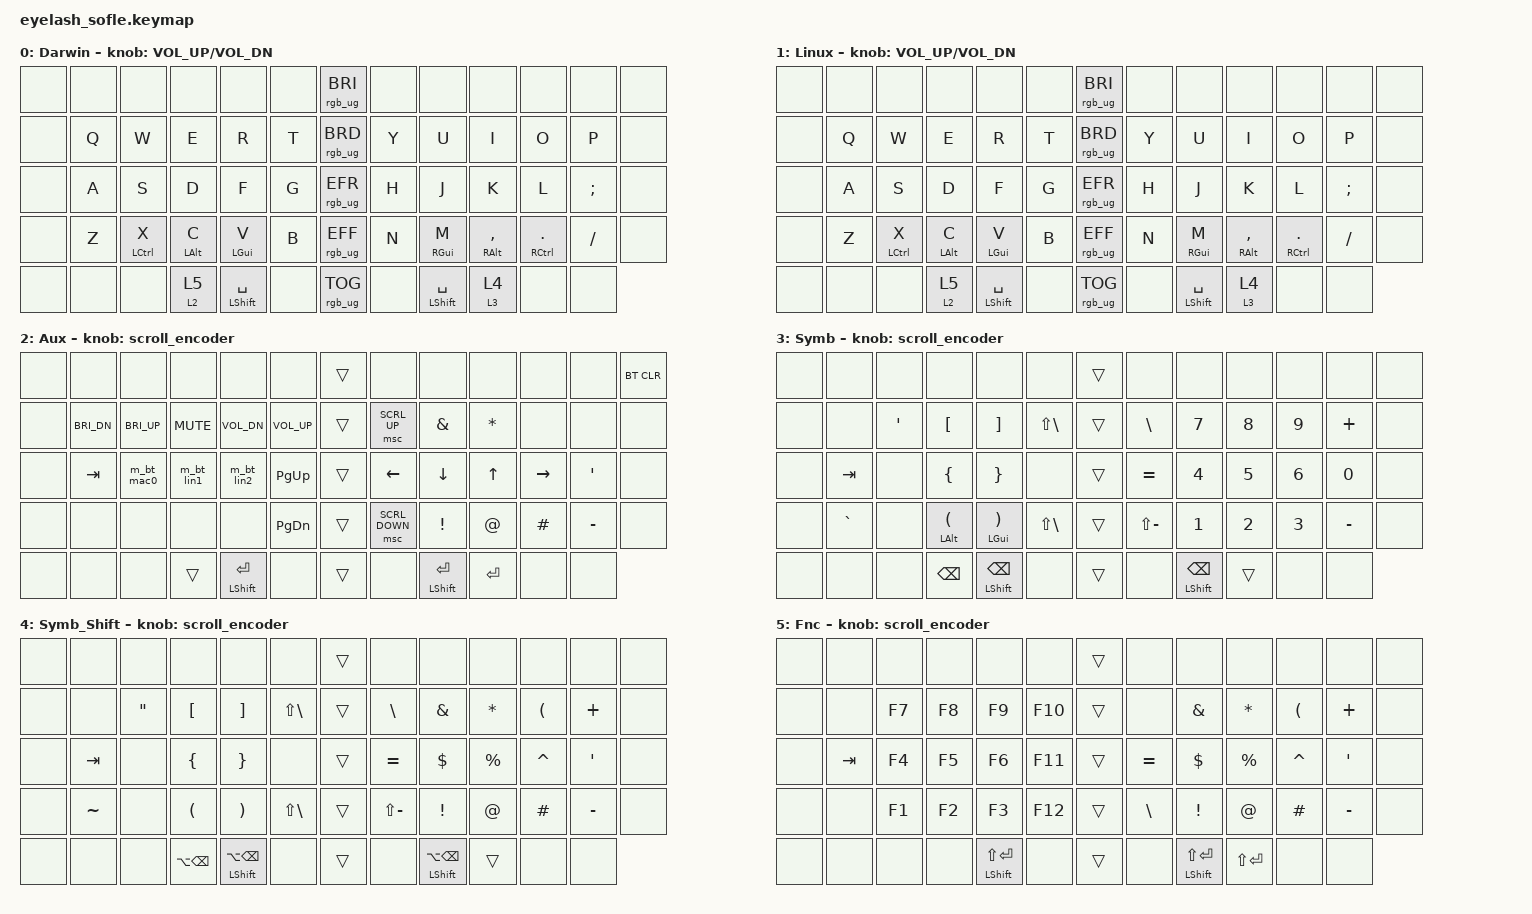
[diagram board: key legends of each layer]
#define ZMK_POINTING_DEFAULT_MOVE_VAL 1200  // 600
#define ZMK_POINTING_DEFAULT_SCRL_VAL 25   // 10

#include <input/processors.dtsi>
#include <zephyr/dt-bindings/input/input-event-codes.h>
#include <behaviors.dtsi>
#include <dt-bindings/zmk/bt.h>
#include <dt-bindings/zmk/keys.h>
#include <dt-bindings/zmk/outputs.h>
#include <dt-bindings/zmk/pointing.h>
#include <dt-bindings/zmk/rgb.h>

&mmv_input_listener { input-processors = <&zip_xy_scaler 2 1>; };

&msc_input_listener { input-processors = <&zip_scroll_scaler 2 1>; };

&msc {
    acceleration-exponent = <1>;      // 0
    time-to-max-speed-ms = <100>;       // 300
    delay-ms = <0>;                   // 0
};

&mmv {
    time-to-max-speed-ms = <500>;
    acceleration-exponent = <1>;
    trigger-period-ms = <16>;
};

&soft_off { hold-time-ms = <2000>; };

/ {
    scroll_encoder: scroll_encoder {
        compatible = "zmk,behavior-sensor-rotate";
        #sensor-binding-cells = <0>;
        bindings = <&msc SCRL_DOWN>, <&msc SCRL_UP>;

        tap-ms = <100>;
    };

    macros {
        m_bt_mac0: m_bt_mac0 {
            compatible = "zmk,behavior-macro";
            #binding-cells = <0>;
            bindings = <&bt BT_SEL 0>, <&to 0>;
        };
        m_bt_lin1: m_bt_lin1 {
            compatible = "zmk,behavior-macro";
            #binding-cells = <0>;
            bindings = <&bt BT_SEL 1>, <&to 1>;
        };
        m_bt_lin2: m_bt_lin2 {
            compatible = "zmk,behavior-macro";
            #binding-cells = <0>;
            bindings = <&bt BT_SEL 2>, <&to 1>;
        };
    };

    behaviors {
        hml: homerow_mods_left {
            compatible = "zmk,behavior-hold-tap";
            #binding-cells = <2>;
            flavor = "balanced";
            tapping-term-ms = <200>;
            quick-tap-ms = <200>;
            bindings = <&kp>, <&kp>;
        };

        hmr: homerow_mods_right {
            compatible = "zmk,behavior-hold-tap";
            #binding-cells = <2>;
            flavor = "balanced";
            tapping-term-ms = <200>;
            quick-tap-ms = <200>;
            bindings = <&kp>, <&kp>;
        };

        lmt: lmet_behavior {
            compatible = "zmk,behavior-hold-tap";
            #binding-cells = <2>;
            flavor = "tap-preferred";
            tapping-term-ms = <200>;
            bindings = <&mo>, <&sl>;
        };

        rmt: rmet_behavior {
            compatible = "zmk,behavior-hold-tap";
            #binding-cells = <2>;
            flavor = "tap-preferred";
            tapping-term-ms = <200>;
            bindings = <&mo>, <&sl>;
        };

        shft_spc: shift_space {
            compatible = "zmk,behavior-hold-tap";
            #binding-cells = <2>;
            flavor = "balanced";
            tapping-term-ms = <150>;
            quick-tap-ms = <0>;
            bindings = <&kp>, <&kp>;
        };
    };

    combos {
        compatible = "zmk,combos";

        softoff {
            bindings = <&soft_off>;
            key-positions = <14 28 40>;
        };

        combo_esc {
            timeout-ms = <30>;
            key-positions = <15 16>;
            bindings = <&kp ESC>;
        };

        combo_ret {
            timeout-ms = <30>;
            key-positions = <34 35>;
            bindings = <&kp ENTER>;
        };

        combo_abspc_mac {
            timeout-ms = <200>;
            key-positions = <36 37>;
            bindings = <&kp LA(BSPC)>;
            layers = <0>;
        };
        combo_abspc_win {
            timeout-ms = <200>;
            key-positions = <36 37>;
            bindings = <&kp LC(BSPC)>;
            layers = <1>;
        };
    };

    keymap {
        compatible = "zmk,keymap";

        layer0 {
            bindings = <
&none      &none     &none        &none        &none                  &none             &rgb_ug RGB_BRI        &none     &none                 &none           &none          &none     &none
&none      &kp Q     &kp W        &kp E        &kp R                  &kp T             &rgb_ug RGB_BRD        &kp Y     &kp U                 &kp I           &kp O          &kp P     &none
&none      &kp A     &kp S        &kp D        &kp F                  &kp G             &rgb_ug RGB_EFR        &kp H     &kp J                 &kp K           &kp L          &kp SEMI  &none
&none      &kp Z     &hml LCTL X  &hml LALT C  &hml LGUI V            &kp B             &rgb_ug RGB_EFF        &kp N     &hmr RGUI M           &hmr RALT COMMA &hmr RCTRL DOT &kp FSLH  &none
&none      &none     &none        &lmt 2 5     &shft_spc LSHFT SPACE  &none             &rgb_ug RGB_TOG        &none     &shft_spc LSHFT SPACE &rmt 3 4        &none          &none
            >;

            sensor-bindings = <&inc_dec_kp C_VOLUME_UP C_VOL_DN>;
            display-name = "Darwin";
        };

        layer_1 {
            bindings = <
&none      &none     &none        &none        &none                  &none             &rgb_ug RGB_BRI        &none     &none                 &none           &none          &none     &none
&none      &kp Q     &kp W        &kp E        &kp R                  &kp T             &rgb_ug RGB_BRD        &kp Y     &kp U                 &kp I           &kp O          &kp P     &none
&none      &kp A     &kp S        &kp D        &kp F                  &kp G             &rgb_ug RGB_EFR        &kp H     &kp J                 &kp K           &kp L          &kp SEMI  &none
&none      &kp Z     &hml LCTL X  &hml LALT C  &hml LGUI V            &kp B             &rgb_ug RGB_EFF        &kp N     &hmr RGUI M           &hmr RALT COMMA &hmr RCTRL DOT &kp FSLH  &none
&none      &none     &none        &lmt 2 5     &shft_spc LSHFT SPACE  &none             &rgb_ug RGB_TOG        &none     &shft_spc LSHFT SPACE &rmt 3 4        &none          &none
            >;

            sensor-bindings = <&inc_dec_kp C_VOLUME_UP C_VOL_DN>;
            display-name = "Linux";
        };

        layer_2 {
            bindings = <
&none      &none         &none         &none         &none         &none                &trans          &none           &none                 &none      &none      &none     &bt BT_CLR
&none      &kp C_BRI_DN  &kp C_BRI_UP  &kp C_MUTE    &kp C_VOL_DN  &kp C_VOL_UP         &trans          &msc SCRL_UP    &kp AMPS              &kp ASTRK  &none      &none     &none
&none      &kp TAB       &m_bt_mac0    &m_bt_lin1    &m_bt_lin2    &kp PG_UP            &trans          &kp LEFT        &kp DOWN              &kp UP     &kp RIGHT  &kp SQT   &none
&none      &none         &none         &none         &none         &kp PG_DN            &trans          &msc SCRL_DOWN  &kp EXCL              &kp AT     &kp HASH   &kp MINUS &none
&none      &none         &none         &trans        &shft_spc LSHFT ENTER  &none       &trans          &none           &shft_spc LSHFT ENTER &kp ENTER  &none      &none
            >;

            display-name = "Aux";
            sensor-bindings = <&scroll_encoder>;
        };

        layer_3 {
            bindings = <
&none      &none      &none     &none           &none           &none                &trans          &none      &none                 &none      &none      &none      &none
&none      &none      &kp SQT   &kp LBKT        &kp RBKT        &kp LS(BSLH)         &trans          &kp BSLH   &kp N7                &kp N8     &kp N9     &kp PLUS   &none
&none      &kp TAB    &none     &kp LBRC        &kp RBRC        &none                &trans          &kp EQUAL  &kp N4                &kp N5     &kp N6     &kp N0     &none
&none      &kp GRAVE  &none     &hml LALT LPAR  &hml LGUI RPAR  &kp LS(BSLH)         &trans          &kp LS(MINUS) &kp N1             &kp N2     &kp N3     &kp MINUS  &none
&none      &none      &none     &kp BSPC        &shft_spc LSHFT BSPC  &none          &trans          &none      &shft_spc LSHFT BSPC  &trans     &none      &none
            >;

            display-name = "Symb";
            sensor-bindings = <&scroll_encoder>;
        };

        layer_4 {
            bindings = <
&none      &none      &none    &none     &none     &none                &trans          &none      &none                 &none      &none      &none      &none
&none      &none      &kp DQT  &kp LBKT  &kp RBKT  &kp LS(BSLH)         &trans          &kp BSLH   &kp AMPS              &kp ASTRK  &kp LPAR   &kp PLUS   &none
&none      &kp TAB    &none    &kp LBRC  &kp RBRC  &none                &trans          &kp EQUAL  &kp DLLR              &kp PRCNT  &kp CARET  &kp SQT    &none
&none      &kp TILDE  &none    &kp LPAR  &kp RPAR  &kp LS(BSLH)         &trans          &kp LS(MINUS) &kp EXCL           &kp AT     &kp HASH   &kp MINUS  &none
&none      &none      &none    &kp LA(BSPC)  &shft_spc LSHFT LA(BSPC)  &none        &trans          &none      &shft_spc LSHFT LA(BSPC)  &trans     &none      &none
            >;

            display-name = "Symb_Shift";
            sensor-bindings = <&scroll_encoder>;
        };

        layer_5 {
            bindings = <
&none      &none    &none   &none   &none                    &none          &trans          &none      &none                    &none        &none      &none      &none
&none      &none    &kp F7  &kp F8  &kp F9                   &kp F10        &trans          &none      &kp AMPS                 &kp ASTRK    &kp LPAR   &kp PLUS   &none
&none      &kp TAB  &kp F4  &kp F5  &kp F6                   &kp F11        &trans          &kp EQUAL  &kp DLLR                 &kp PRCNT    &kp CARET  &kp SQT    &none
&none      &none    &kp F1  &kp F2  &kp F3                   &kp F12        &trans          &kp BSLH   &kp EXCL                 &kp AT       &kp HASH   &kp MINUS  &none
&none      &none    &none   &none   &shft_spc LSHFT LS(RET)  &none          &trans          &none      &shft_spc LSHFT LS(RET)  &kp LS(RET)  &none      &none
            >;

            display-name = "Fnc";
            sensor-bindings = <&scroll_encoder>;
        };
    };
};
